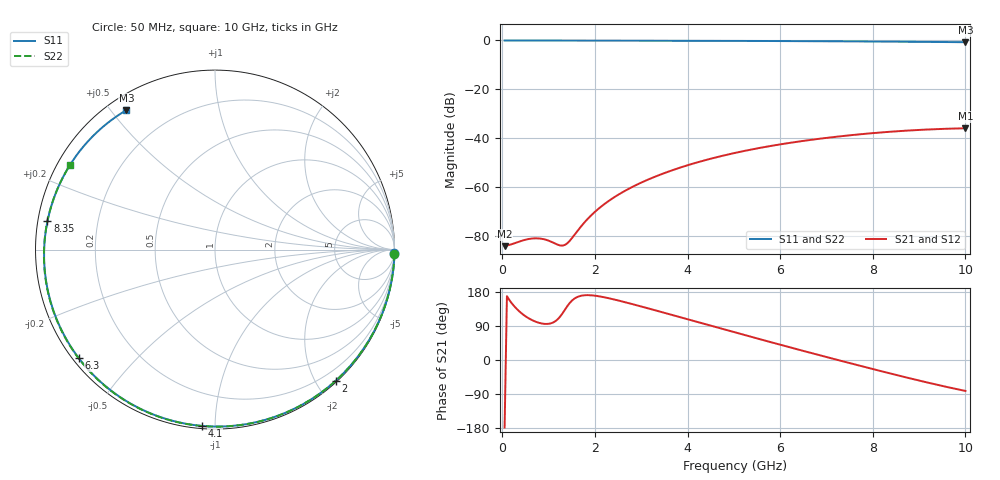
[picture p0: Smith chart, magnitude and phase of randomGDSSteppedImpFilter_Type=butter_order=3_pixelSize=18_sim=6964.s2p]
! freq	dB(S11)	phase(S11)	dB(S12)	phase(S12)
!  dB(S21)	phase(S21)	dB(S22)	phase(S22)
!S-par simulation data
#  GHz  S  DB  R 50
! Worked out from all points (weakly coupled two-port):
!   200 points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, 50 MHz to 10 GHz, reference 50 ohm
!   highest |S21| = -35.94 dB at 10 GHz (marker M1); lowest = -84.2 dB at 50 MHz (marker M2)
!   lowest |S11| = -0.7 dB at 10 GHz (marker M3), VSWR 24.21, Z = 2.69 + j27.4 ohm
!   |S11| at or under -10 dB: nowhere
!   |S22| runs from -0.6 to 0.0 dB; largest |S21 - S12| = 0
!   S11 on the Smith chart (normalised r, x): 50 MHz: 0, -94; 2 GHz: 0.02, -2.28; 4.1 GHz: 0.01, -0.93; 6.3 GHz: 0.02, -0.35; 8.35 GHz: 0.03, +0.08; 10 GHz: 0.05, +0.55
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0.05  -0.00 -1.2  -84.19 -178.1  -84.19 -178.1  -0.00 -1.3
0.75  -0.02 -18.1  -80.98 99.8  -80.98 99.8  -0.02 -19.0
1.5  -0.05 -35.8  -80.99 156.2  -80.99 156.2  -0.05 -37.6
1.55  -0.05 -37.0  -79.77 161.3  -79.77 161.3  -0.05 -38.8
1.75  -0.05 -41.6  -74.99 170.5  -74.99 170.5  -0.05 -43.6
2  -0.06 -47.4  -70.14 169.7  -70.14 169.7  -0.06 -49.6
2.3  -0.07 -54.3  -65.64 163.0  -65.64 163.0  -0.07 -56.6
2.6  -0.08 -61.1  -62.06 154.1  -62.06 154.1  -0.08 -63.6
2.95  -0.09 -69.0  -58.62 142.9  -58.62 142.9  -0.09 -71.5
3.4  -0.10 -79.0  -54.99 127.9  -54.99 127.9  -0.10 -81.4
4.1  -0.13 -94.2  -50.50 104.2  -50.50 104.2  -0.13 -96.3
4.55  -0.15 -103.9  -48.15 89.0  -48.15 89.0  -0.15 -105.5
5.05  -0.18 -114.6  -45.92 72.1  -45.92 72.1  -0.17 -115.5
5.65  -0.21 -127.4  -43.66 52.0  -43.66 52.0  -0.20 -127.1
6.3  -0.26 -141.5  -41.65 30.5  -41.65 30.5  -0.24 -139.4
6.7  -0.30 -150.3  -40.59 17.5  -40.59 17.5  -0.27 -146.9
7.55  -0.38 -169.8  -38.72 -9.7  -38.72 -9.7  -0.34 -162.7
8.35  -0.48 170.4  -37.39 -34.7  -37.39 -34.7  -0.41 -177.8
8.8  -0.54 158.4  -36.82 -48.3  -36.82 -48.3  -0.45 173.6
9.2  -0.59 147.1  -36.43 -60.0  -36.43 -60.0  -0.50 165.8
9.6  -0.65 135.1  -36.13 -71.2  -36.13 -71.2  -0.54 157.9
10  -0.72 122.4  -35.94 -81.6  -35.94 -81.6  -0.58 149.7
